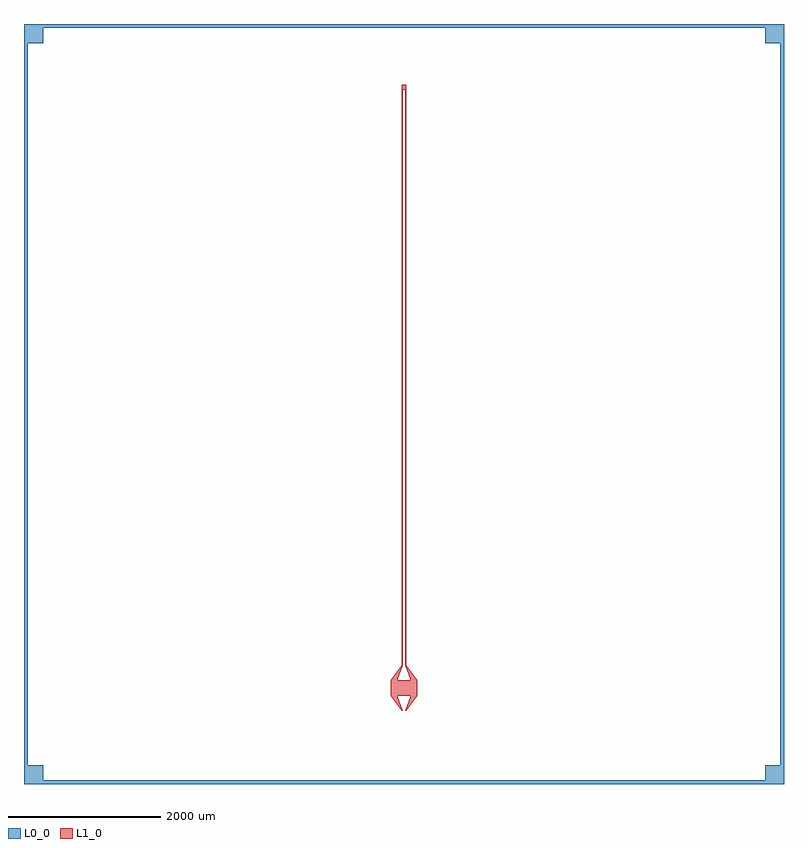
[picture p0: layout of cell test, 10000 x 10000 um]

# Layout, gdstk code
from math import pi, radians
import gdstk
lib = gdstk.Library(unit=1e-6, precision=1e-09)
def R(c, l, rs):  # rectangles x0, y0, x1, y1
    for r in rs: c.add(gdstk.rectangle(r[:2], r[2:], *l))
def P(c, l, *ps):  # polygons
    for p in ps: c.add(gdstk.Polygon(p, *l))
L0_0 = (0, 0)
L1_0 = (1, 0)

inlineidc_0_ = lib.new_cell('InlineIDC[0]')
R(inlineidc_0_, L1_0, [(-100,-175,100,-87.5), (-100,87.5,100,175)])
P(inlineidc_0_, L1_0, [(-90,-87.5),(-90,-82.5),(100,-82.5),(100,-67.5),(-90,-67.5),(-90,-62.5),(100,-62.5),(100,-47.5),(-90,-47.5),(-90,-42.5),(100,-42.5),(100,-27.5),(-90,-27.5),(-90,-22.5),(100,-22.5),(100,-7.5),(-90,-7.5),(-90,-2.5),(100,-2.5),(100,12.5),(-90,12.5),(-90,17.5),(100,17.5),(100,32.5),(-90,32.5),(-90,37.5),(100,37.5),(100,52.5),(-90,52.5),(-90,57.5),(100,57.5),(100,72.5),(-90,72.5),(-90,77.5),(100,77.5),(100,87.5),(90,87.5),(90,82.5),(-100,82.5),(-100,67.5),(90,67.5),(90,62.5),(-100,62.5),(-100,47.5),(90,47.5),(90,42.5),(-100,42.5),(-100,27.5),(90,27.5),(90,22.5),(-100,22.5),(-100,7.5),(90,7.5),(90,2.5),(-100,2.5),(-100,-12.5),(90,-12.5),(90,-17.5),(-100,-17.5),(-100,-32.5),(90,-32.5),(90,-37.5),(-100,-37.5),(-100,-52.5),(90,-52.5),(90,-57.5),(-100,-57.5),(-100,-72.5),(90,-72.5),(90,-77.5),(-100,-77.5),(-100,-87.5)],
  [(-300,32.5),(-300,15),(-100,87.5),(-100,175)],
  [(-300,-15),(-300,-32.5),(-100,-175),(-100,-87.5)],
  [(100,175),(100,87.5),(300,15),(300,32.5)],
  [(100,-87.5),(100,-175),(300,-32.5),(300,-15)])

readoutbus_0_ = lib.new_cell('ReadoutBus[0]')
R(readoutbus_0_, L1_0, [(-32.5,0,-15,7575), (15,0,32.5,7575), (-32.5,7575,32.5,7640)])
readoutbus_0_.add(gdstk.Reference(inlineidc_0_, (0,-300), rotation=3*pi/2))

test = lib.new_cell('test')
P(test, L0_0, [(-5000,5000),(-5000,-4750),(-4950,-4750),(-4950,4750),(-4750,4750),(-4750,4950),(4750,4950),(4750,4750),(4950,4750),(4950,-4750),(4750,-4750),(4750,-4950),(-4750,-4950),(-4750,-4750),(-4950,-4750),(-5000,-4750),(-5000,-5000),(5000,-5000),(5000,5000)])
test.add(gdstk.Reference(readoutbus_0_, (0,-3437.5)))

lib.write_gds('test.gds')
